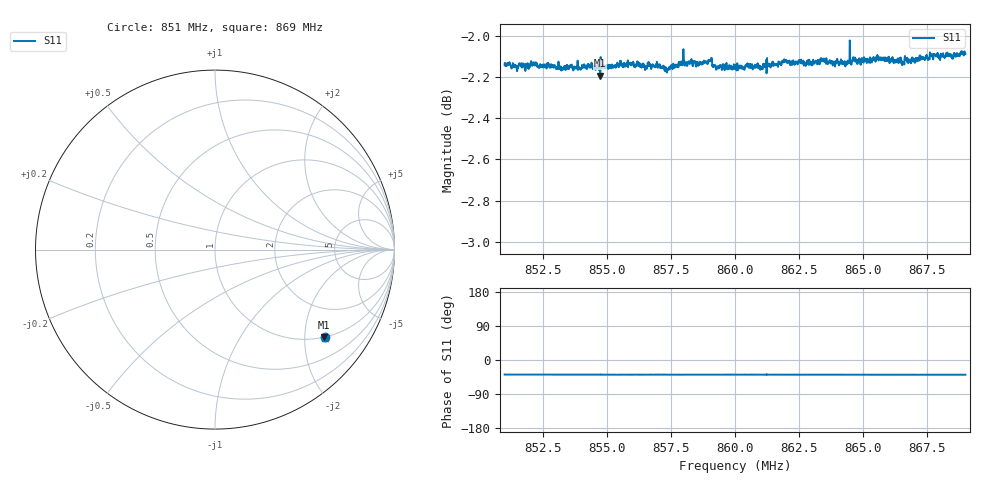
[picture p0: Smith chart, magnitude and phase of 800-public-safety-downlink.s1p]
! Calibrated averaged scanner-service zoom
# Hz S RI R 50
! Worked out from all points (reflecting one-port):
!   2001 points, 851 MHz to 869 MHz, reference 50 ohm
!   lowest |S11| = -2.2 dB at 854.74 MHz (marker M1), VSWR 7.96, Z = 50.6 - j124 ohm
!   phase of S11 starts at -38 deg and turns -1 deg over the sweep
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8.51e8  0.6132 -0.4847
8.51873e8  0.6118 -0.4857
8.52062e8  0.6118 -0.4876
8.52359e8  0.6103 -0.4862
8.5325e8  0.6104 -0.4859
8.54312e8  0.6104 -0.4866
8.54735e8  0.6059 -0.4863
8.555e8  0.609 -0.4892
8.56877e8  0.6104 -0.4864
8.57282e8  0.6103 -0.4854
8.5775e8  0.6098 -0.489
8.58236e8  0.6107 -0.4884
8.58632e8  0.6122 -0.488
8.5901e8  0.612 -0.4892
8.59307e8  0.6097 -0.4877
8.6e8  0.6097 -0.4878
8.6108e8  0.6085 -0.4877
8.61314e8  0.6102 -0.4887
8.61944e8  0.6111 -0.4899
8.6225e8  0.6098 -0.4896
8.63429e8  0.6109 -0.4908
8.64365e8  0.61 -0.4894
8.645e8  0.6107 -0.4901
8.6549e8  0.6107 -0.49
8.6675e8  0.609 -0.4917
8.67857e8  0.6117 -0.4928
8.68496e8  0.6105 -0.4932
8.69e8  0.6124 -0.4933
